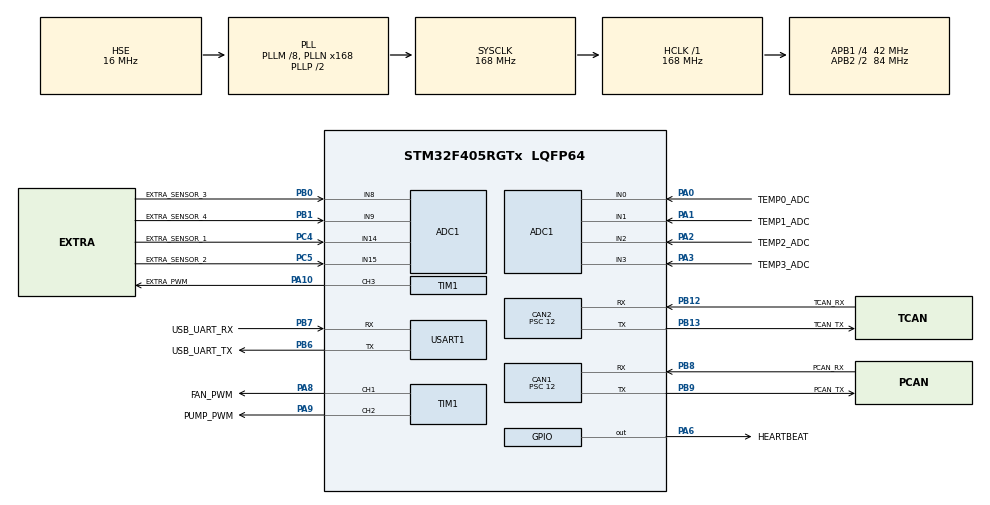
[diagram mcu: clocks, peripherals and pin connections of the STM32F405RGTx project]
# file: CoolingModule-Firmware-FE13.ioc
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ADC1.Channel-0\#ChannelRegularConversion=ADC_CHANNEL_0
ADC1.Channel-1\#ChannelRegularConversion=ADC_CHANNEL_1
ADC1.Channel-2\#ChannelRegularConversion=ADC_CHANNEL_2
ADC1.Channel-3\#ChannelRegularConversion=ADC_CHANNEL_3
ADC1.ContinuousConvMode=DISABLE
ADC1.DMAContinuousRequests=ENABLE
ADC1.NbrOfConversion=4
ADC1.NbrOfConversionFlag=1
ADC1.Rank-0\#ChannelRegularConversion=1
ADC1.Rank-1\#ChannelRegularConversion=2
ADC1.Rank-2\#ChannelRegularConversion=3
ADC1.Rank-3\#ChannelRegularConversion=4
ADC1.SamplingTime-0\#ChannelRegularConversion=ADC_SAMPLETIME_3CYCLES
ADC1.SamplingTime-1\#ChannelRegularConversion=ADC_SAMPLETIME_3CYCLES
ADC1.SamplingTime-2\#ChannelRegularConversion=ADC_SAMPLETIME_3CYCLES
ADC1.SamplingTime-3\#ChannelRegularConversion=ADC_SAMPLETIME_3CYCLES
ADC1.ScanConvMode=ENABLE
ADC1.master=1
CAN1.BS1=CAN_BS1_3TQ
CAN1.BS2=CAN_BS2_3TQ
CAN1.CalculateBaudRate=500000
CAN1.CalculateTimeBit=2000
CAN1.CalculateTimeQuantum=285.7142857142857
CAN1.Mode=CAN_MODE_NORMAL
CAN1.Prescaler=12
CAN2.BS1=CAN_BS1_3TQ
CAN2.BS2=CAN_BS2_3TQ
CAN2.CalculateBaudRate=500000
CAN2.CalculateTimeBit=2000
CAN2.CalculateTimeQuantum=285.7142857142857
CAN2.Prescaler=12
Dma.ADC1.0.Direction=DMA_PERIPH_TO_MEMORY
Dma.ADC1.0.FIFOMode=DMA_FIFOMODE_DISABLE
Dma.ADC1.0.Instance=DMA2_Stream0
Dma.ADC1.0.MemDataAlignment=DMA_MDATAALIGN_HALFWORD
Dma.ADC1.0.MemInc=DMA_MINC_ENABLE
Dma.ADC1.0.Mode=DMA_CIRCULAR
Dma.ADC1.0.PeriphDataAlignment=DMA_PDATAALIGN_HALFWORD
Dma.ADC1.0.PeriphInc=DMA_PINC_DISABLE
Dma.ADC1.0.Priority=DMA_PRIORITY_LOW
Dma.Request0=ADC1
Mcu.Family=STM32F4
Mcu.Name=STM32F405RGTx
Mcu.Package=LQFP64
NVIC.ADC_IRQn=true\:0\:0\:false\:false\:true\:true\:true\:true
NVIC.CAN1_RX0_IRQn=true\:0\:0\:false\:false\:true\:true\:true\:true
NVIC.DMA2_Stream0_IRQn=true\:0\:0\:false\:false\:true\:false\:true\:true
NVIC.PriorityGroup=NVIC_PRIORITYGROUP_4
PA0-WKUP.GPIO_Label=TEMP0_ADC
PA0-WKUP.Signal=ADCx_IN0
PA1.GPIO_Label=TEMP1_ADC
PA1.Signal=ADCx_IN1
PA10.GPIO_Label=EXTRA_PWM
PA10.Signal=S_TIM1_CH3
PA13.Mode=Serial_Wire
PA13.Signal=SYS_JTMS-SWDIO
PA14.Mode=Serial_Wire
PA14.Signal=SYS_JTCK-SWCLK
PA15.Signal=SYS_JTDI
PA2.GPIO_Label=TEMP2_ADC
PA2.Signal=ADCx_IN2
PA3.GPIO_Label=TEMP3_ADC
PA3.Signal=ADCx_IN3
PA6.GPIO_Label=HEARTBEAT
PA6.Signal=GPIO_Output
PA8.GPIO_Label=FAN_PWM
PA8.Signal=S_TIM1_CH1
PA9.GPIO_Label=PUMP_PWM
PA9.Signal=S_TIM1_CH2
PB0.GPIO_Label=EXTRA_SENSOR_3
PB0.Signal=ADCx_IN8
PB1.GPIO_Label=EXTRA_SENSOR_4
PB1.Signal=ADCx_IN9
PB12.GPIO_Label=TCAN_RX
PB12.Mode=CAN_Activate
PB12.Signal=CAN2_RX
PB13.GPIO_Label=TCAN_TX
PB13.Mode=CAN_Activate
PB13.Signal=CAN2_TX
PB3.Signal=SYS_JTDO-SWO
PB6.GPIO_Label=USB_UART_TX
PB6.Mode=Asynchronous
PB6.Signal=USART1_TX
PB7.GPIO_Label=USB_UART_RX
PB7.Mode=Asynchronous
PB7.Signal=USART1_RX
PB8.GPIO_Label=PCAN_RX
PB8.Mode=CAN_Activate
PB8.Signal=CAN1_RX
PB9.GPIO_Label=PCAN_TX
PB9.Mode=CAN_Activate
PB9.Signal=CAN1_TX
PC4.GPIO_Label=EXTRA_SENSOR_1
PC4.Signal=ADCx_IN14
PC5.GPIO_Label=EXTRA_SENSOR_2
PC5.Signal=ADCx_IN15
PH0-OSC_IN.Mode=HSE-External-Oscillator
PH0-OSC_IN.Signal=RCC_OSC_IN
PH1-OSC_OUT.Mode=HSE-External-Oscillator
PH1-OSC_OUT.Signal=RCC_OSC_OUT
ProjectManager.HeapSize=0x200
ProjectManager.StackSize=0x400
ProjectManager.TargetToolchain=STM32CubeIDE
RCC.48MHZClocksFreq_Value=84000000
RCC.AHBFreq_Value=168000000
RCC.APB1CLKDivider=RCC_HCLK_DIV4
RCC.APB1Freq_Value=42000000
RCC.APB1TimFreq_Value=84000000
RCC.APB2CLKDivider=RCC_HCLK_DIV2
RCC.APB2Freq_Value=84000000
RCC.APB2TimFreq_Value=168000000
RCC.CortexFreq_Value=168000000
RCC.HCLKFreq_Value=168000000
RCC.HSE_VALUE=16000000
RCC.HSI_VALUE=16000000
RCC.LSE_VALUE=32768
RCC.PLLM=8
RCC.PLLN=168
RCC.PLLSourceVirtual=RCC_PLLSOURCE_HSE
RCC.SYSCLKFreq_VALUE=168000000
RCC.SYSCLKSource=RCC_SYSCLKSOURCE_PLLCLK
RCC.VCOOutputFreq_Value=336000000
SH.ADCx_IN0.0=ADC1_IN0,IN0
SH.ADCx_IN1.0=ADC1_IN1,IN1
SH.ADCx_IN14.0=ADC1_IN14,IN14
SH.ADCx_IN15.0=ADC1_IN15,IN15
SH.ADCx_IN2.0=ADC1_IN2,IN2
SH.ADCx_IN3.0=ADC1_IN3,IN3
SH.ADCx_IN8.0=ADC1_IN8,IN8
SH.ADCx_IN9.0=ADC1_IN9,IN9
SH.S_TIM1_CH1.0=TIM1_CH1,PWM Generation1 CH1
SH.S_TIM1_CH2.0=TIM1_CH2,PWM Generation2 CH2
SH.S_TIM1_CH3.0=TIM1_CH3,PWM Generation3 CH3
TIM1.Channel-PWM\ Generation1\ CH1=TIM_CHANNEL_1
TIM1.Channel-PWM\ Generation2\ CH2=TIM_CHANNEL_2
TIM1.Channel-PWM\ Generation3\ CH3=TIM_CHANNEL_3
USART1.VirtualMode=VM_ASYNC
board=custom

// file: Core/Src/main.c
/* USER CODE BEGIN Header */
/**
  ******************************************************************************
  * @file           : main.c
  * @brief          : Main program body
  ******************************************************************************
  * @attention
  *
  * Copyright (c) 2025 STMicroelectronics.
  * All rights reserved.
  *
  * This software is licensed under terms that can be found in the LICENSE file
  * in the root directory of this software component.
  * If no LICENSE file comes with this software, it is provided AS-IS.
  *
  ******************************************************************************
  */
/* USER CODE END Header */
#include "main.h"

/* USER CODE BEGIN Includes */
#include "can_manager.h"
#include "cooling.h"
/* USER CODE END Includes */

/* USER CODE BEGIN PD */
#define ADC_LOOP_DELAY 5
#define CAN_LOOP_DELAY 10
/* USER CODE END PD */

ADC_HandleTypeDef hadc1;
DMA_HandleTypeDef hdma_adc1;

CAN_HandleTypeDef hcan1;
CAN_HandleTypeDef hcan2;

TIM_HandleTypeDef htim1;

UART_HandleTypeDef huart1;

void SystemClock_Config(void);
static void MX_GPIO_Init(void);
static void MX_DMA_Init(void);
static void MX_CAN1_Init(void);
static void MX_CAN2_Init(void);
static void MX_ADC1_Init(void);
static void MX_TIM1_Init(void);
static void MX_USART1_UART_Init(void);

/* USER CODE BEGIN 0 */
uint16_t ADC_RES_BUFFER[4];
	// 4 channels:
	// [0] = inlet_temp
	// [1] = outlet_temp
	// [2] = air_in_temp
	// [3] = air_out_temp
/* USER CODE END 0 */

int main(void)
{

  /* MCU Configuration--------------------------------------------------------*/

  /* Reset of all peripherals, Initializes the Flash interface and the Systick. */
  HAL_Init();

  /* Configure the system clock */
  SystemClock_Config();

  /* Initialize all configured peripherals */
  MX_GPIO_Init();
  MX_DMA_Init();
  MX_CAN1_Init();
  MX_CAN2_Init();
  MX_ADC1_Init();
  MX_TIM1_Init();
  MX_USART1_UART_Init();
  /* USER CODE BEGIN 2 */

  CAN_Filter_Init(); // hcan1 is PCAN, hcan2 is TCAN

  uint8_t adc_loop_counter = 0;
  uint8_t can_loop_counter = 0;

  Cooling_Init();

  /* USER CODE END 2 */

  /* Infinite loop */
  while (1)
  {

    /* USER CODE BEGIN 3 */
	  Cooling_Update();
	  HAL_GPIO_TogglePin(HEARTBEAT_GPIO_Port, HEARTBEAT_Pin);

	  // ADC Conversions
	  if (adc_loop_counter > ADC_LOOP_DELAY) {
		  adc_loop_counter = 0;
		  HAL_ADC_Start_DMA(&hadc1, (uint32_t*)ADC_RES_BUFFER, 4);
	  } else {
		  adc_loop_counter++;
	  }

	  // Send temps over CAN
	  if (can_loop_counter > CAN_LOOP_DELAY) {
		  can_loop_counter = 0;
		  CAN_Send_Temp_ADC(&hcan2);
	  } else {
		  can_loop_counter++;
	  }

  }
  /* USER CODE END 3 */
}

void SystemClock_Config(void)
{
  RCC_OscInitTypeDef RCC_OscInitStruct = {0};
  RCC_ClkInitTypeDef RCC_ClkInitStruct = {0};

  /** Configure the main internal regulator output voltage
  */
  __HAL_RCC_PWR_CLK_ENABLE();
  __HAL_PWR_VOLTAGESCALING_CONFIG(PWR_REGULATOR_VOLTAGE_SCALE1);

  /** Initializes the RCC Oscillators according to the specified parameters
  * in the RCC_OscInitTypeDef structure.
  */
  RCC_OscInitStruct.OscillatorType = RCC_OSCILLATORTYPE_HSE;
  RCC_OscInitStruct.HSEState = RCC_HSE_ON;
  RCC_OscInitStruct.PLL.PLLState = RCC_PLL_ON;
  RCC_OscInitStruct.PLL.PLLSource = RCC_PLLSOURCE_HSE;
  RCC_OscInitStruct.PLL.PLLM = 8;
  RCC_OscInitStruct.PLL.PLLN = 168;
  RCC_OscInitStruct.PLL.PLLP = RCC_PLLP_DIV2;
  RCC_OscInitStruct.PLL.PLLQ = 4;
  if (HAL_RCC_OscConfig(&RCC_OscInitStruct) != HAL_OK)
  {
    Error_Handler();
  }

  /** Initializes the CPU, AHB and APB buses clocks
  */
  RCC_ClkInitStruct.ClockType = RCC_CLOCKTYPE_HCLK|RCC_CLOCKTYPE_SYSCLK
                              |RCC_CLOCKTYPE_PCLK1|RCC_CLOCKTYPE_PCLK2;
  RCC_ClkInitStruct.SYSCLKSource = RCC_SYSCLKSOURCE_PLLCLK;
  RCC_ClkInitStruct.AHBCLKDivider = RCC_SYSCLK_DIV1;
  RCC_ClkInitStruct.APB1CLKDivider = RCC_HCLK_DIV4;
  RCC_ClkInitStruct.APB2CLKDivider = RCC_HCLK_DIV2;

  if (HAL_RCC_ClockConfig(&RCC_ClkInitStruct, FLASH_LATENCY_5) != HAL_OK)
  {
    Error_Handler();
  }
}

static void MX_ADC1_Init(void)
{

  ADC_ChannelConfTypeDef sConfig = {0};

  /** Configure the global features of the ADC (Clock, Resolution, Data Alignment and number of conversion)
  */
  hadc1.Instance = ADC1;
  hadc1.Init.ClockPrescaler = ADC_CLOCK_SYNC_PCLK_DIV4;
  hadc1.Init.Resolution = ADC_RESOLUTION_12B;
  hadc1.Init.ScanConvMode = ENABLE;
  hadc1.Init.ContinuousConvMode = DISABLE;
  hadc1.Init.DiscontinuousConvMode = DISABLE;
  hadc1.Init.ExternalTrigConvEdge = ADC_EXTERNALTRIGCONVEDGE_NONE;
  hadc1.Init.ExternalTrigConv = ADC_SOFTWARE_START;
  hadc1.Init.DataAlign = ADC_DATAALIGN_RIGHT;
  hadc1.Init.NbrOfConversion = 4;
  hadc1.Init.DMAContinuousRequests = ENABLE;
  hadc1.Init.EOCSelection = ADC_EOC_SINGLE_CONV;
  if (HAL_ADC_Init(&hadc1) != HAL_OK)
  {
    Error_Handler();
  }

  /** Configure for the selected ADC regular channel its corresponding rank in the sequencer and its sample time.
  */
  sConfig.Channel = ADC_CHANNEL_0;
  sConfig.Rank = 1;
  sConfig.SamplingTime = ADC_SAMPLETIME_3CYCLES;
  if (HAL_ADC_ConfigChannel(&hadc1, &sConfig) != HAL_OK)
  {
    Error_Handler();
  }

  /** Configure for the selected ADC regular channel its corresponding rank in the sequencer and its sample time.
  */
  sConfig.Channel = ADC_CHANNEL_1;
  sConfig.Rank = 2;
  if (HAL_ADC_ConfigChannel(&hadc1, &sConfig) != HAL_OK)
  {
    Error_Handler();
  }

  /** Configure for the selected ADC regular channel its corresponding rank in the sequencer and its sample time.
  */
  sConfig.Channel = ADC_CHANNEL_2;
  sConfig.Rank = 3;
  if (HAL_ADC_ConfigChannel(&hadc1, &sConfig) != HAL_OK)
  {
    Error_Handler();
  }

  /** Configure for the selected ADC regular channel its corresponding rank in the sequencer and its sample time.
  */
  sConfig.Channel = ADC_CHANNEL_3;
  sConfig.Rank = 4;
  if (HAL_ADC_ConfigChannel(&hadc1, &sConfig) != HAL_OK)
  {
    Error_Handler();
  }

}

static void MX_CAN1_Init(void)
{

  hcan1.Instance = CAN1;
  hcan1.Init.Prescaler = 12;
  hcan1.Init.Mode = CAN_MODE_NORMAL;
  hcan1.Init.SyncJumpWidth = CAN_SJW_1TQ;
  hcan1.Init.TimeSeg1 = CAN_BS1_3TQ;
  hcan1.Init.TimeSeg2 = CAN_BS2_3TQ;
  hcan1.Init.TimeTriggeredMode = DISABLE;
  hcan1.Init.AutoBusOff = DISABLE;
  hcan1.Init.AutoWakeUp = DISABLE;
  hcan1.Init.AutoRetransmission = DISABLE;
  hcan1.Init.ReceiveFifoLocked = DISABLE;
  hcan1.Init.TransmitFifoPriority = DISABLE;
  if (HAL_CAN_Init(&hcan1) != HAL_OK)
  {
    Error_Handler();
  }

}

static void MX_CAN2_Init(void)
{

  hcan2.Instance = CAN2;
  hcan2.Init.Prescaler = 12;
  hcan2.Init.Mode = CAN_MODE_NORMAL;
  hcan2.Init.SyncJumpWidth = CAN_SJW_1TQ;
  hcan2.Init.TimeSeg1 = CAN_BS1_3TQ;
  hcan2.Init.TimeSeg2 = CAN_BS2_3TQ;
  hcan2.Init.TimeTriggeredMode = DISABLE;
  hcan2.Init.AutoBusOff = DISABLE;
  hcan2.Init.AutoWakeUp = DISABLE;
  hcan2.Init.AutoRetransmission = DISABLE;
  hcan2.Init.ReceiveFifoLocked = DISABLE;
  hcan2.Init.TransmitFifoPriority = DISABLE;
  if (HAL_CAN_Init(&hcan2) != HAL_OK)
  {
    Error_Handler();
  }

}

static void MX_TIM1_Init(void)
{

  TIM_MasterConfigTypeDef sMasterConfig = {0};
  TIM_OC_InitTypeDef sConfigOC = {0};
  TIM_BreakDeadTimeConfigTypeDef sBreakDeadTimeConfig = {0};

  htim1.Instance = TIM1;
  htim1.Init.Prescaler = 0;
  htim1.Init.CounterMode = TIM_COUNTERMODE_UP;
  htim1.Init.Period = 65535;
  htim1.Init.ClockDivision = TIM_CLOCKDIVISION_DIV1;
  htim1.Init.RepetitionCounter = 0;
  htim1.Init.AutoReloadPreload = TIM_AUTORELOAD_PRELOAD_DISABLE;
  if (HAL_TIM_PWM_Init(&htim1) != HAL_OK)
  {
    Error_Handler();
  }
  sMasterConfig.MasterOutputTrigger = TIM_TRGO_RESET;
  sMasterConfig.MasterSlaveMode = TIM_MASTERSLAVEMODE_DISABLE;
  if (HAL_TIMEx_MasterConfigSynchronization(&htim1, &sMasterConfig) != HAL_OK)
  {
    Error_Handler();
  }
  sConfigOC.OCMode = TIM_OCMODE_PWM1;
  sConfigOC.Pulse = 0;
  sConfigOC.OCPolarity = TIM_OCPOLARITY_HIGH;
  sConfigOC.OCNPolarity = TIM_OCNPOLARITY_HIGH;
  sConfigOC.OCFastMode = TIM_OCFAST_DISABLE;
  sConfigOC.OCIdleState = TIM_OCIDLESTATE_RESET;
  sConfigOC.OCNIdleState = TIM_OCNIDLESTATE_RESET;
  if (HAL_TIM_PWM_ConfigChannel(&htim1, &sConfigOC, TIM_CHANNEL_1) != HAL_OK)
  {
    Error_Handler();
  }
  if (HAL_TIM_PWM_ConfigChannel(&htim1, &sConfigOC, TIM_CHANNEL_2) != HAL_OK)
  {
    Error_Handler();
  }
  if (HAL_TIM_PWM_ConfigChannel(&htim1, &sConfigOC, TIM_CHANNEL_3) != HAL_OK)
  {
    Error_Handler();
  }
  sBreakDeadTimeConfig.OffStateRunMode = TIM_OSSR_DISABLE;
  sBreakDeadTimeConfig.OffStateIDLEMode = TIM_OSSI_DISABLE;
  sBreakDeadTimeConfig.LockLevel = TIM_LOCKLEVEL_OFF;
  sBreakDeadTimeConfig.DeadTime = 0;
  sBreakDeadTimeConfig.BreakState = TIM_BREAK_DISABLE;
  sBreakDeadTimeConfig.BreakPolarity = TIM_BREAKPOLARITY_HIGH;
  sBreakDeadTimeConfig.AutomaticOutput = TIM_AUTOMATICOUTPUT_DISABLE;
  if (HAL_TIMEx_ConfigBreakDeadTime(&htim1, &sBreakDeadTimeConfig) != HAL_OK)
  {
    Error_Handler();
  }
  HAL_TIM_MspPostInit(&htim1);

}

static void MX_USART1_UART_Init(void)
{

  huart1.Instance = USART1;
  huart1.Init.BaudRate = 115200;
  huart1.Init.WordLength = UART_WORDLENGTH_8B;
  huart1.Init.StopBits = UART_STOPBITS_1;
  huart1.Init.Parity = UART_PARITY_NONE;
  huart1.Init.Mode = UART_MODE_TX_RX;
  huart1.Init.HwFlowCtl = UART_HWCONTROL_NONE;
  huart1.Init.OverSampling = UART_OVERSAMPLING_16;
  if (HAL_UART_Init(&huart1) != HAL_OK)
  {
    Error_Handler();
  }

}

static void MX_DMA_Init(void)
{

  /* DMA controller clock enable */
  __HAL_RCC_DMA2_CLK_ENABLE();

  /* DMA interrupt init */
  /* DMA2_Stream0_IRQn interrupt configuration */
  HAL_NVIC_SetPriority(DMA2_Stream0_IRQn, 0, 0);
  HAL_NVIC_EnableIRQ(DMA2_Stream0_IRQn);

}

static void MX_GPIO_Init(void)
{
  GPIO_InitTypeDef GPIO_InitStruct = {0};

  /* GPIO Ports Clock Enable */
  __HAL_RCC_GPIOH_CLK_ENABLE();
  __HAL_RCC_GPIOA_CLK_ENABLE();
  __HAL_RCC_GPIOC_CLK_ENABLE();
  __HAL_RCC_GPIOB_CLK_ENABLE();

  /*Configure GPIO pin Output Level */
  HAL_GPIO_WritePin(HEARTBEAT_GPIO_Port, HEARTBEAT_Pin, GPIO_PIN_RESET);

  /*Configure GPIO pin : HEARTBEAT_Pin */
  GPIO_InitStruct.Pin = HEARTBEAT_Pin;
  GPIO_InitStruct.Mode = GPIO_MODE_OUTPUT_PP;
  GPIO_InitStruct.Pull = GPIO_NOPULL;
  GPIO_InitStruct.Speed = GPIO_SPEED_FREQ_LOW;
  HAL_GPIO_Init(HEARTBEAT_GPIO_Port, &GPIO_InitStruct);

}

void Error_Handler(void)
{
  __disable_irq();
  while (1)
  {
  }
}
